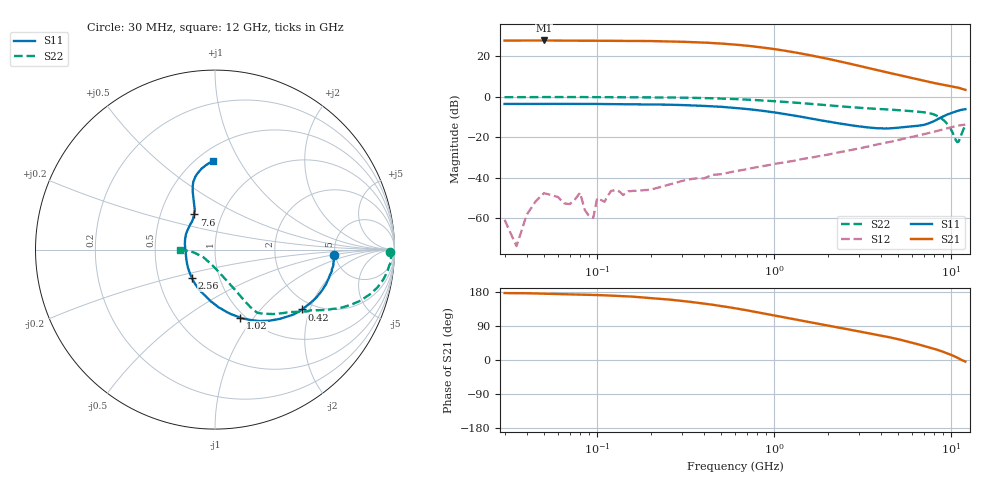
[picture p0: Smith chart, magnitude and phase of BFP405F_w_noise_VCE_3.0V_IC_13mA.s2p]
! Infineon Technologies  Discrete & RF Semiconductors
! BFP405F
! VCE =  3.0 V,  IC =  13 mA
! Common Emitter S-Parameters:  Nov 2015
# GHz  S  MA  R  50
!  f  S11  S21  S12  S22
! GHz  MAG  ANG  MAG  ANG  MAG  ANG  MAG  ANG
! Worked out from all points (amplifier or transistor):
!   239 points, 30 MHz to 12 GHz, reference 50 ohm
!   highest |S21| = 27.9 dB at 50 MHz (marker M1)
!   |S21| within 3 dB of that: start of sweep to 771.2 MHz
!   unconditionally stable (mu >= 1): start of sweep to 36.14 MHz; 2.069 GHz to end of sweep
!   at 300 MHz: K = 0.22, MSG = 34.5 dB, |S12| = -41.7 dB
!   at 1.88 GHz: K = 0.95, MSG = 24.2 dB, |S12| = -29.1 dB
!   at 12 GHz: K = 1.38, MAG = 4.9 dB, |S12| = -13.7 dB
!   lowest NFmin = 1.86 dB at 450 MHz
!   S11 on the Smith chart (normalised r, x): 30 MHz: 4.90, -0.49; 420 MHz: 1.74, -1.77; 1.02 GHz: 0.95, -0.86; 2.56 GHz: 0.74, -0.25; 7.6 GHz: 0.74, +0.30; 12 GHz: 0.60, +0.78
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0.03  0.6637 -2.4  24.63 176.6  0.0009 -29.6  0.9765 -0.7
0.035  0.6628 -2.7  24.63 176.4  0.0002 85.5  0.9772 -0.7
0.04  0.662 -3.1  24.64 176.2  0.0012 128.3  0.9779 -0.7
0.05  0.6675 -4.4  24.8 175.0  0.0041 102.6  0.9856 -1.3
0.08  0.6635 -6.8  24.4 172.6  0.0042 99.1  0.984 -2.4
0.085  0.6647 -7.0  24.44 172.4  0.0016 104.3  0.983 -2.5
0.095  0.6646 -7.9  24.4 171.9  0.001 111.6  0.9818 -3.0
0.1  0.6633 -8.6  24.32 171.5  0.0031 102.2  0.9816 -3.4
0.14  0.6563 -12.0  24.26 168.7  0.0037 76.8  0.9801 -4.7
0.24  0.6393 -20.5  23.56 160.5  0.0062 87.6  0.9635 -8.1
0.3  0.6244 -25.3  23.06 156.0  0.0082 80.8  0.9521 -10.1
0.42  0.5886 -34.5  21.76 147.6  0.0104 79.4  0.9249 -13.5
0.6  0.5296 -46.7  19.58 136.4  0.0143 74.7  0.8776 -17.8
0.8  0.4672 -58.4  17.22 126.1  0.0182 70.6  0.8256 -21.5
1.02  0.4056 -69.5  14.96 116.9  0.022 69.8  0.7738 -24.7
1.3  0.3403 -81.9  12.6 107.4  0.0261 69.3  0.7181 -27.7
1.64  0.2855 -95.6  10.42 98.7  0.0315 68.5  0.6634 -30.6
2.56  0.2047 -128.6  6.866 81.7  0.0459 67.1  0.5637 -38.0
4.5  0.166 178.6  3.87 59.7  0.0764 61.4  0.4821 -48.2
7.6  0.2273 120.6  2.297 32.6  0.1285 49.4  0.3869 -57.9
10.8  0.4452 101.3  1.697 5.9  0.1909 31.1  0.0752 -125.7
12  0.4921 91.0  1.483 -4.1  0.2057 24.2  0.1954 -179.6
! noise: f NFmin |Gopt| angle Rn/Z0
0.45  1.86  0.14  4  0.33
0.9  1.88  0.13  7  0.32
1.5  1.93  0.11  11  0.22
1.9  1.96  0.1  17  0.27
2.4  2.11  0.08  24  0.33
3  2.19  0.07  32  0.36
3.5  2.24  0.04  37  0.47
4.5  2.43  0.04  -69  0.18
5.5  2.69  0.13  -87  0.06
